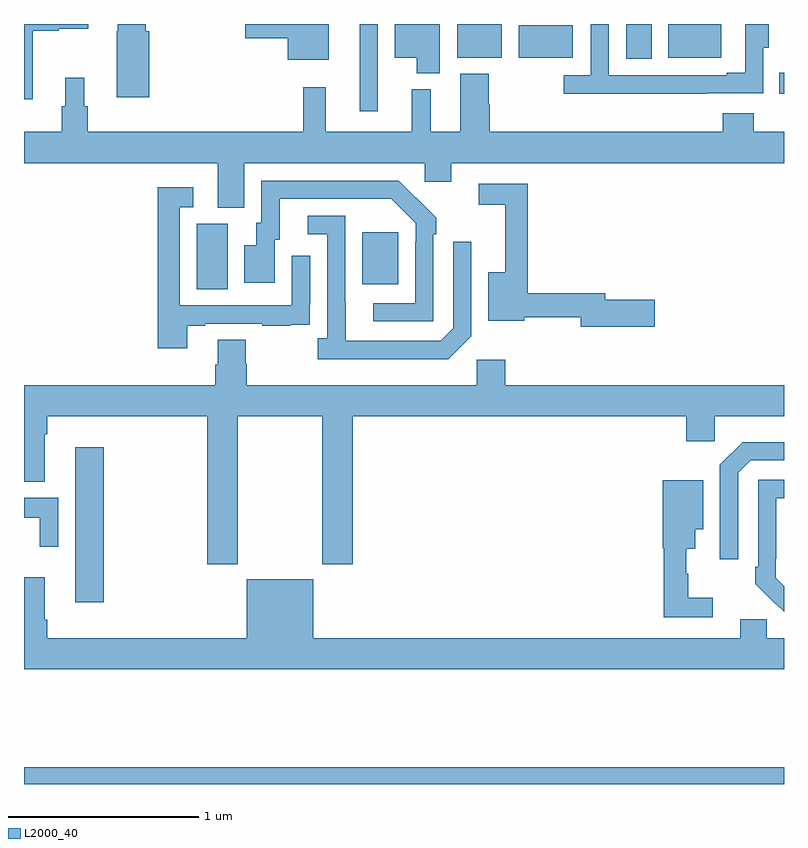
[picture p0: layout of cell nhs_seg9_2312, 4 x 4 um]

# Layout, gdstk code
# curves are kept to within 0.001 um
import gdstk
lib = gdstk.Library(unit=1e-6, precision=1e-09)
def R(c, l, rs):  # rectangles x0, y0, x1, y1
    for r in rs: c.add(gdstk.rectangle(r[:2], r[2:], *l))
def P(c, l, *ps):  # polygons
    for p in ps: c.add(gdstk.Polygon(p, *l))
L2000_40 = (2000, 40)

nhs_seg9_2312 = lib.new_cell('nhs_seg9_2312')
R(nhs_seg9_2312, L2000_40, [(243,1178.5,247,1178.588), (243.269,1179.456,243.419,1180.273), (243.908,1181.104,244.072,1181.448), (244.781,1181.129,244.969,1181.404), (244.766,1182.042,244.863,1182.5), (246.976,1182.134,247,1182.244), (246.17,1182.316,246.304,1182.5), (245.279,1182.323,245.515,1182.5), (245.603,1182.323,245.887,1182.493), (246.392,1182.323,246.67,1182.5)])
P(nhs_seg9_2312, L2000_40, [(246.593,1182.135),(246.891,1182.135),(246.891,1182.375),(246.919,1182.375),(246.919,1182.5),(246.795,1182.5),(246.795,1182.244),(246.698,1182.244),(246.698,1182.231),(246.078,1182.231),(246.078,1182.5),(245.982,1182.5),(245.982,1182.231),(245.841,1182.231),(245.841,1182.134),(246.593,1182.134)],
  [(244.603,1182.5),(244.164,1182.5),(244.164,1182.425),(244.388,1182.425),(244.388,1182.311),(244.603,1182.311)],
  [(245.188,1182.5),(244.952,1182.5),(244.952,1182.323),(245.066,1182.323),(245.066,1182.242),(245.188,1182.242)],
  [(243.659,1182.462),(243.641,1182.462),(243.641,1182.5),(243.494,1182.5),(243.494,1182.462),(243.488,1182.462),(243.488,1182.114),(243.659,1182.114)],
  [(243.046,1182.464),(243.183,1182.464),(243.183,1182.476),(243.337,1182.476),(243.337,1182.5),(243,1182.5),(243,1182.104),(243.046,1182.104)],
  [(243.335,1182.066),(243.316,1182.066),(243.316,1182.217),(243.218,1182.217),(243.218,1182.066),(243.199,1182.066),(243.199,1181.932),(243,1181.932),(243,1181.768),(244.019,1181.768),(244.019,1181.533),(244.159,1181.533),(244.159,1181.768),(245.109,1181.768),(245.109,1181.67),(245.248,1181.67),(245.248,1181.768),(247,1181.768),(247,1181.932),(246.842,1181.932),(246.842,1182.031),(246.677,1182.031),(246.677,1181.932),(245.45,1181.932),(245.45,1182.077),(245.445,1182.077),(245.445,1182.238),(245.297,1182.238),(245.297,1181.932),(245.14,1181.932),(245.14,1182.157),(245.042,1182.157),(245.042,1181.932),(244.589,1181.932),(244.589,1182.166),(244.471,1182.166),(244.471,1181.932),(243.335,1181.932)],
  [(245.154,1181.393),(245.169,1181.393),(245.169,1181.481),(244.972,1181.676),(244.248,1181.676),(244.248,1181.454),(244.223,1181.454),(244.223,1181.335),(244.16,1181.335),(244.16,1181.139),(244.321,1181.139),(244.321,1181.364),(244.345,1181.364),(244.345,1181.58),(244.933,1181.58),(245.061,1181.451),(245.061,1181.351),(245.058,1181.351),(245.058,1181.031),(244.839,1181.031),(244.839,1180.935),(245.154,1180.935)],
  [(246.319,1181.048),(246.058,1181.048),(246.058,1181.084),(245.651,1181.084),(245.651,1181.658),(245.394,1181.658),(245.394,1181.55),(245.534,1181.55),(245.534,1181.194),(245.444,1181.194),(245.444,1180.937),(245.632,1180.937),(245.632,1180.956),(245.93,1180.956),(245.93,1180.906),(246.319,1180.906)],
  [(243.859,1180.911),(243.955,1180.911),(243.955,1180.923),(244.255,1180.923),(244.255,1180.911),(244.403,1180.911),(244.403,1180.917),(244.505,1180.917),(244.505,1181.026),(244.506,1181.026),(244.506,1181.281),(244.41,1181.281),(244.41,1181.019),(243.819,1181.019),(243.819,1181.535),(243.892,1181.535),(243.892,1181.641),(243.703,1181.641),(243.703,1180.794),(243.859,1180.794)],
  [(245.355,1180.857),(245.355,1181.353),(245.259,1181.353),(245.259,1180.899),(245.193,1180.833),(244.693,1180.833),(244.692,1181.49),(244.494,1181.49),(244.494,1181.394),(244.596,1181.394),(244.596,1180.846),(244.545,1180.846),(244.545,1180.736),(245.234,1180.736)],
  [(244.125,1180.436),(244.57,1180.436),(244.57,1179.657),(244.73,1179.657),(244.73,1180.436),(246.485,1180.436),(246.485,1180.305),(246.636,1180.305),(246.636,1180.436),(247,1180.436),(247,1180.6),(245.534,1180.6),(245.534,1180.732),(245.382,1180.732),(245.382,1180.6),(244.172,1180.6),(244.172,1180.713),(244.167,1180.713),(244.167,1180.838),(244.019,1180.838),(244.019,1180.706),(244.007,1180.706),(244.007,1180.6),(243,1180.6),(243,1180.091),(243.109,1180.091),(243.109,1180.34),(243.122,1180.34),(243.122,1180.436),(243.965,1180.436),(243.965,1179.657),(244.125,1179.657)],
  [(246.759,1180.137),(246.825,1180.203),(247,1180.203),(247,1180.3),(246.784,1180.3),(246.663,1180.179),(246.663,1179.684),(246.759,1179.684)],
  [(247,1179.542),(246.957,1179.585),(246.957,1179.685),(246.96,1179.685),(246.96,1180.005),(247,1180.005),(247,1180.101),(246.864,1180.101),(246.864,1179.643),(246.849,1179.643),(246.849,1179.555),(247,1179.406)],
  [(246.625,1179.479),(246.496,1179.479),(246.496,1179.606),(246.485,1179.606),(246.485,1179.737),(246.532,1179.737),(246.532,1179.842),(246.574,1179.842),(246.574,1180.099),(246.362,1180.099),(246.362,1179.741),(246.367,1179.741),(246.367,1179.378),(246.625,1179.378)],
  [(243.18,1180.006),(243,1180.006),(243,1179.902),(243.084,1179.902),(243.084,1179.75),(243.18,1179.75)],
  [(247,1179.268),(246.909,1179.268),(246.909,1179.366),(246.77,1179.366),(246.77,1179.268),(244.522,1179.268),(244.522,1179.577),(244.172,1179.577),(244.172,1179.268),(243.122,1179.268),(243.122,1179.364),(243.109,1179.364),(243.109,1179.589),(243,1179.589),(243,1179.104),(247,1179.104)])

lib.write_gds('nhs_seg9_2312.gds')
